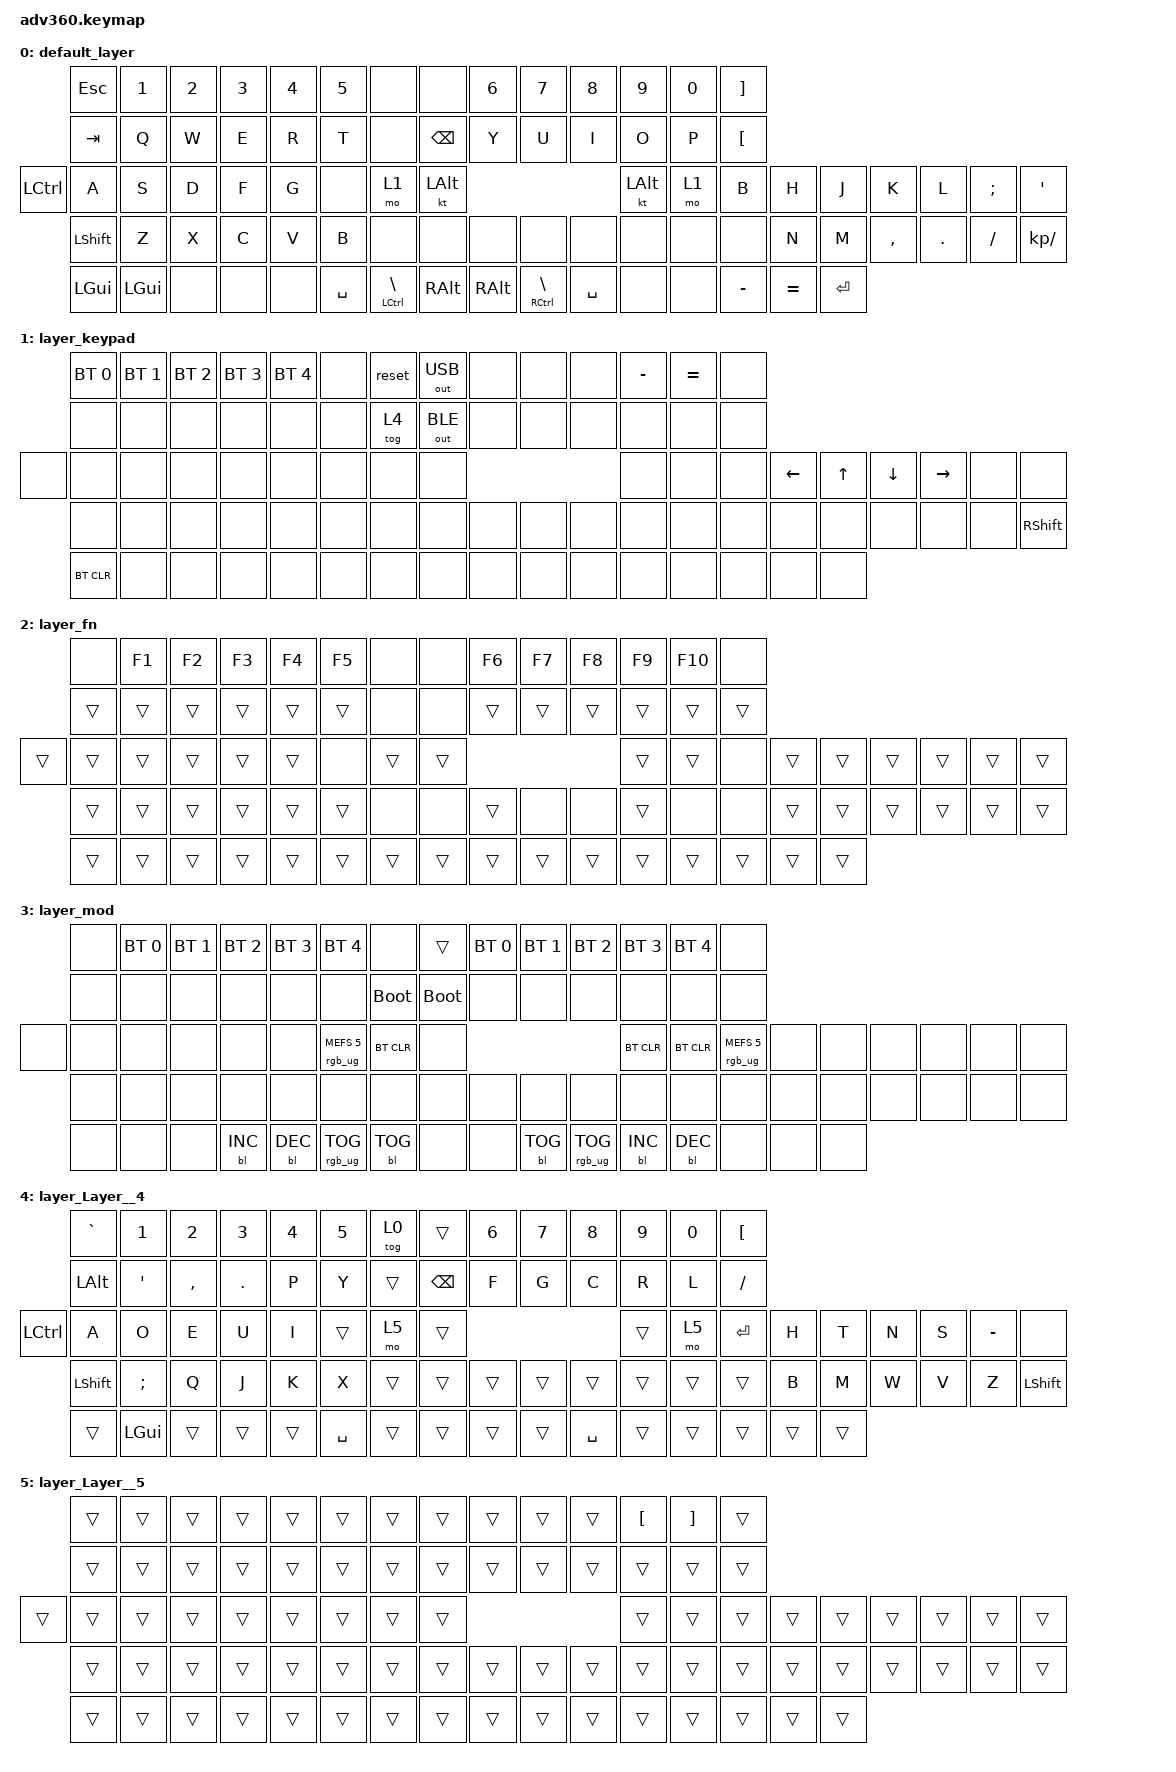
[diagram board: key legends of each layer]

/*
 * Copyright (c) 2020 The ZMK Contributors
 *
 * SPDX-License-Identifier: MIT
 */


/* THIS FILE WAS GENERATED!
 *
 * This file was generated automatically. You may or may not want to
 * edit it directly.
 */

#include <behaviors.dtsi>
#include <dt-bindings/zmk/keys.h>
#include <dt-bindings/zmk/keys.h>
#include <dt-bindings/zmk/bt.h>
#include <dt-bindings/zmk/outputs.h>
#include <dt-bindings/zmk/rgb.h>
#include <dt-bindings/zmk/backlight.h>

/ {
  behaviors {
    #include "macros.dtsi"

    hm: homerow_mods {
        compatible = "zmk,behavior-hold-tap";
        label = "HOMEROW_MODS";
        #binding-cells = <2>;
        tapping-term-ms = <200>;
        quick_tap_ms = <175>;
        flavor = "tap-preferred";
        bindings = <&kp>, <&kp>;
    };
  };

    keymap {
        compatible = "zmk,keymap";


        default_layer {
            bindings = <
       &kp ESCAPE    &kp N1  &kp N2  &kp N3  &kp N4     &kp N5                                 &none          &none         &kp N6                       &kp N7     &kp N8        &kp N9  &kp N0  &kp RIGHT_BRACKET
          &kp TAB     &kp Q   &kp W   &kp E   &kp R      &kp T                                 &none  &kp BACKSPACE          &kp Y                        &kp U      &kp I         &kp O   &kp P   &kp LEFT_BRACKET
 &kp LEFT_CONTROL     &kp A   &kp S   &kp D   &kp F      &kp G                                 &none          &mo 1   &kt LEFT_ALT                                          &kt LEFT_ALT   &mo 1              &kp B      &kp H      &kp J      &kp K    &kp L  &kp SEMI       &kp SQT
        &kp LSHFT     &kp Z   &kp X   &kp C   &kp V      &kp B                                 &none          &none          &none                        &none      &none         &none   &none              &none      &kp N      &kp M  &kp COMMA  &kp DOT  &kp FSLH  &kp KP_SLASH
         &kp LGUI  &kp LGUI   &none   &none   &none  &kp SPACE            &mt LEFT_CONTROL BACKSLASH  &kp RIGHT_ALT  &kp RIGHT_ALT  &mt RIGHT_CONTROL BACKSLASH  &kp SPACE         &none   &none          &kp MINUS  &kp EQUAL  &kp ENTER
            >;
        };

        layer_keypad {
            bindings = <
 &bt BT_SEL 0  &bt BT_SEL 1  &bt BT_SEL 2  &bt BT_SEL 3  &bt BT_SEL 4   &none            &reset  &out OUT_USB   &none   &none   &none  &kp MINUS  &kp EQUAL   &none
        &none         &none         &none         &none         &none   &none            &tog 4  &out OUT_BLE   &none   &none   &none      &none      &none   &none
        &none         &none         &none         &none         &none   &none             &none         &none   &none                      &none      &none   &none  &kp LEFT  &kp UP  &kp DOWN  &kp RIGHT   &none            &none
        &none         &none         &none         &none         &none   &none             &none         &none   &none   &none   &none      &none      &none   &none     &none   &none     &none      &none   &none  &kp RIGHT_SHIFT
   &bt BT_CLR         &none         &none         &none         &none   &none             &none         &none   &none   &none   &none      &none      &none   &none     &none   &none
            >;
        };

        layer_fn {
            bindings = <
  &none  &kp F1  &kp F2  &kp F3  &kp F4  &kp F5             &none   &none  &kp F6  &kp F7  &kp F8  &kp F9  &kp F10   &none
 &trans  &trans  &trans  &trans  &trans  &trans             &none   &none  &trans  &trans  &trans  &trans   &trans  &trans
 &trans  &trans  &trans  &trans  &trans  &trans             &none  &trans  &trans                  &trans   &trans   &none  &trans  &trans  &trans  &trans  &trans  &trans
 &trans  &trans  &trans  &trans  &trans  &trans             &none   &none  &trans   &none   &none  &trans    &none   &none  &trans  &trans  &trans  &trans  &trans  &trans
 &trans  &trans  &trans  &trans  &trans  &trans            &trans  &trans  &trans  &trans  &trans  &trans   &trans  &trans  &trans  &trans
            >;
        };

        layer_mod {
            bindings = <
  &none  &bt BT_SEL 0  &bt BT_SEL 1  &bt BT_SEL 2  &bt BT_SEL 3     &bt BT_SEL 4                             &none       &trans  &bt BT_SEL 0  &bt BT_SEL 1     &bt BT_SEL 2  &bt BT_SEL 3  &bt BT_SEL 4                   &none
  &none         &none         &none         &none         &none            &none                       &bootloader  &bootloader         &none         &none            &none         &none         &none                   &none
  &none         &none         &none         &none         &none            &none            &rgb_ug RGB_MEFS_CMD 5   &bt BT_CLR         &none                                   &bt BT_CLR    &bt BT_CLR  &rgb_ug RGB_MEFS_CMD 5   &none   &none   &none   &none   &none   &none
  &none         &none         &none         &none         &none            &none                             &none        &none         &none         &none            &none         &none         &none                   &none   &none   &none   &none   &none   &none   &none
  &none         &none         &none    &bl BL_INC    &bl BL_DEC  &rgb_ug RGB_TOG                        &bl BL_TOG        &none         &none    &bl BL_TOG  &rgb_ug RGB_TOG    &bl BL_INC    &bl BL_DEC                   &none   &none   &none
            >;
        };

        layer_Layer__4 {
            bindings = <
        &kp GRAVE            &kp N1     &kp N2      &kp N3  &kp N4     &kp N5            &tog 0         &trans  &kp N6  &kp N7     &kp N8  &kp N9  &kp N0  &kp LEFT_BRACKET
     &kp LEFT_ALT  &kp SINGLE_QUOTE  &kp COMMA  &kp PERIOD   &kp P      &kp Y            &trans  &kp BACKSPACE   &kp F   &kp G      &kp C   &kp R   &kp L         &kp SLASH
 &kp LEFT_CONTROL             &kp A      &kp O       &kp E   &kp U      &kp I            &trans          &mo 5  &trans                     &trans   &mo 5         &kp ENTER   &kp H   &kp T   &kp N   &kp S  &kp MINUS           &none
   &kp LEFT_SHIFT     &kp SEMICOLON      &kp Q       &kp J   &kp K      &kp X            &trans         &trans  &trans  &trans     &trans  &trans  &trans            &trans   &kp B   &kp M   &kp W   &kp V      &kp Z  &kp LEFT_SHIFT
           &trans          &kp LGUI     &trans      &trans  &trans  &kp SPACE            &trans         &trans  &trans  &trans  &kp SPACE  &trans  &trans            &trans  &trans  &trans
            >;
        };

        layer_Layer__5 {
            bindings = <
 &trans  &trans  &trans  &trans  &trans  &trans            &trans  &trans  &trans  &trans  &trans  &kp LEFT_BRACKET  &kp RIGHT_BRACKET  &trans
 &trans  &trans  &trans  &trans  &trans  &trans            &trans  &trans  &trans  &trans  &trans            &trans             &trans  &trans
 &trans  &trans  &trans  &trans  &trans  &trans            &trans  &trans  &trans                            &trans             &trans  &trans  &trans  &trans  &trans  &trans  &trans  &trans
 &trans  &trans  &trans  &trans  &trans  &trans            &trans  &trans  &trans  &trans  &trans            &trans             &trans  &trans  &trans  &trans  &trans  &trans  &trans  &trans
 &trans  &trans  &trans  &trans  &trans  &trans            &trans  &trans  &trans  &trans  &trans            &trans             &trans  &trans  &trans  &trans
            >;
        };

    };
};
